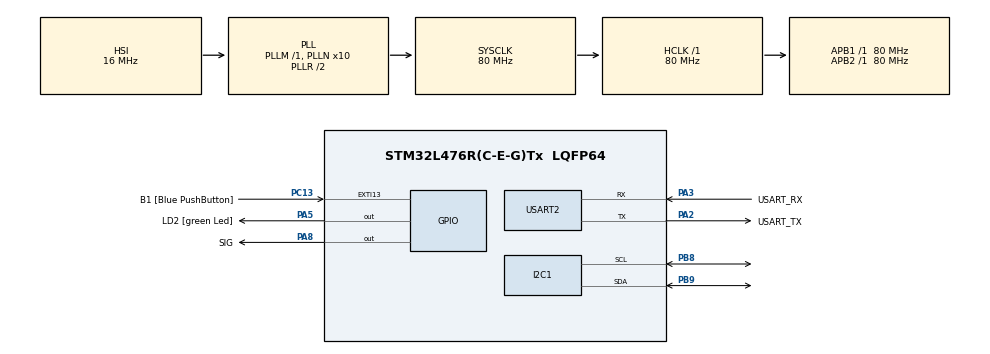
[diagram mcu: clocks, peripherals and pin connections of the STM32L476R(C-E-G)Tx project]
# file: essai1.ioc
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I2C1.Timing=0x10909CEC
Mcu.Family=STM32L4
Mcu.Name=STM32L476R(C-E-G)Tx
Mcu.Package=LQFP64
NVIC.PriorityGroup=NVIC_PRIORITYGROUP_4
PA13\ (JTMS-SWDIO).GPIO_Label=TMS
PA13\ (JTMS-SWDIO).Mode=Serial_Wire
PA13\ (JTMS-SWDIO).Signal=SYS_JTMS-SWDIO
PA14\ (JTCK-SWCLK).GPIO_Label=TCK
PA14\ (JTCK-SWCLK).Mode=Serial_Wire
PA14\ (JTCK-SWCLK).Signal=SYS_JTCK-SWCLK
PA2.GPIO_Label=USART_TX
PA2.GPIO_Mode=GPIO_MODE_AF_PP
PA2.GPIO_PuPd=GPIO_NOPULL
PA2.GPIO_Speed=GPIO_SPEED_FREQ_VERY_HIGH
PA2.Mode=Asynchronous
PA2.Signal=USART2_TX
PA3.GPIO_Label=USART_RX
PA3.GPIO_Mode=GPIO_MODE_AF_PP
PA3.GPIO_PuPd=GPIO_NOPULL
PA3.GPIO_Speed=GPIO_SPEED_FREQ_VERY_HIGH
PA3.Mode=Asynchronous
PA3.Signal=USART2_RX
PA5.GPIO_Label=LD2 [green Led]
PA5.GPIO_ModeDefaultOutputPP=GPIO_MODE_OUTPUT_PP
PA5.GPIO_PuPd=GPIO_NOPULL
PA5.GPIO_Speed=GPIO_SPEED_FREQ_LOW
PA5.Signal=GPIO_Output
PA8.GPIO_Label=SIG
PA8.Signal=GPIO_Output
PB3\ (JTDO-TRACESWO).GPIO_Label=SWO
PB3\ (JTDO-TRACESWO).Signal=SYS_JTDO-SWO
PB8.GPIO_Pu=GPIO_PULLUP
PB8.Mode=I2C
PB8.Signal=I2C1_SCL
PB9.GPIO_Pu=GPIO_PULLUP
PB9.Mode=I2C
PB9.Signal=I2C1_SDA
PC13.GPIO_Label=B1 [Blue PushButton]
PC13.GPIO_ModeDefaultEXTI=GPIO_MODE_IT_FALLING
PC13.GPIO_PuPd=GPIO_NOPULL
PC13.Signal=GPXTI13
PC14-OSC32_IN\ (PC14).Mode=LSE-External-Oscillator
PC14-OSC32_IN\ (PC14).Signal=RCC_OSC32_IN
PC15-OSC32_OUT\ (PC15).Mode=LSE-External-Oscillator
PC15-OSC32_OUT\ (PC15).Signal=RCC_OSC32_OUT
PH0-OSC_IN\ (PH0).Signal=RCC_OSC_IN
PH1-OSC_OUT\ (PH1).Signal=RCC_OSC_OUT
ProjectManager.HeapSize=0x200
ProjectManager.StackSize=0x400
ProjectManager.TargetToolchain=STM32CubeIDE
RCC.ADCFreq_Value=64000000
RCC.AHBFreq_Value=80000000
RCC.APB1Freq_Value=80000000
RCC.APB1TimFreq_Value=80000000
RCC.APB2Freq_Value=80000000
RCC.APB2TimFreq_Value=80000000
RCC.CortexFreq_Value=80000000
RCC.HCLKFreq_Value=80000000
RCC.HSE_VALUE=8000000
RCC.HSI_VALUE=16000000
RCC.MSI_VALUE=4000000
RCC.PLLN=10
RCC.PLLSourceVirtual=RCC_PLLSOURCE_HSI
RCC.PREFETCH_ENABLE=1
RCC.SYSCLKFreq_VALUE=80000000
RCC.SYSCLKSource=RCC_SYSCLKSOURCE_PLLCLK
RCC.USBFreq_Value=64000000
RCC.VCOOutputFreq_Value=160000000
TIM2.Prescaler=80-1
USART2.VirtualMode-Asynchronous=VM_ASYNC
VP_TIM2_VS_ClockSourceINT.Mode=Internal
board=NUCLEO-L476RG

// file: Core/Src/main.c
/* USER CODE BEGIN Header */
/**
  ******************************************************************************
  * @file           : main.c
  * @brief          : Main program body
  ******************************************************************************
  * @attention
  *
  * Copyright (c) 2022 STMicroelectronics.
  * All rights reserved.
  *
  * This software is licensed under terms that can be found in the LICENSE file
  * in the root directory of this software component.
  * If no LICENSE file comes with this software, it is provided AS-IS.
  *
  ******************************************************************************
  */
/* USER CODE END Header */
#include "main.h"
#include "i2c.h"
#include "tim.h"
#include "usart.h"
#include "gpio.h"

/* USER CODE BEGIN Includes */

#include "lib_lcd.h"
#include <stdio.h> //bibliothèque pour faire marcher sprintf
#include <string.h> //bibliothèque pour faire marcher memset
 GPIO_InitTypeDef GPIO_InitStruct = {0};

/* USER CODE END Includes */

/* USER CODE BEGIN PV */
 static rgb_lcd lcdData;

 void delay_us(uint16_t us){ // Fonction permettant d'avoir un timer qui compte en microseconde

 	__HAL_TIM_SET_COUNTER(&htim2, 0);
 	while (__HAL_TIM_GET_COUNTER(&htim2) < us);
 }

/* USER CODE END PV */

void SystemClock_Config(void);

/* USER CODE BEGIN 0 */
//void delay_us(uint32_t delay_us);
float mesure_distance(GPIO_TypeDef *GPIOx, uint16_t GPIO_Pin);
void MX_GPIO_input(void);
void MX_GPIO_output(void);

unsigned long tick=0;
float distance;
/* USER CODE END 0 */

int main(void)
{
  /* USER CODE BEGIN 1 */
  uint8_t temp[16] = "";  // initialiser un tableau temp de 16 en uint8

  /* USER CODE END 1 */

  /* MCU Configuration--------------------------------------------------------*/

  /* Reset of all peripherals, Initializes the Flash interface and the Systick. */
  HAL_Init();

  /* Configure the system clock */
  SystemClock_Config();

  /* Initialize all configured peripherals */
  MX_GPIO_Init();
  MX_USART2_UART_Init();
  MX_I2C1_Init();
  MX_TIM2_Init();
  /* USER CODE BEGIN 2 */
  HAL_TIM_Base_Start(&htim2);

  lcd_init(&hi2c1, &lcdData);

  clearlcd();
  lcd_print(&hi2c1,"Hello world");
  /* USER CODE END 2 */

  /* Infinite loop */
  /* USER CODE BEGIN WHILE */
  while (1)
  {
	  MX_GPIO_output();														//Pin on output
	 	  HAL_GPIO_WritePin(SIG_GPIO_Port, SIG_Pin, GPIO_PIN_SET);		    //mettre le pin en état haut
	 	  delay_us (20);													//attendre 20microsecondes pour avoir déclencher une mesure
	 	  HAL_GPIO_WritePin(SIG_GPIO_Port, SIG_Pin, GPIO_PIN_RESET);		//remettre la pin à l'état bas
	 	  MX_GPIO_input();												    //pin on input
	 	  distance = mesure_distance(SIG_GPIO_Port, SIG_Pin);				// entrer dans la fonction mesure

	 	  clearlcd();			//clear lcd
		  lcd_position(&hi2c1,0,0); //positionner le cursor
	 	  lcd_print(&hi2c1,"The distance is:");   //afficher ce message

	 	  lcd_position(&hi2c1, 0, 1);			//répositionner le capteur
	 	  memset(temp,0,sizeof(temp));			//initialiser le tab à 0
	 	  sprintf((char*)temp,"%2.f cm",distance);	// convertir le float en char pour afficher la valeur sur lcd
	 	  lcd_print(&hi2c1,(char*)temp);			//on print le tableau : distance

	 	  HAL_Delay(1000);							// on mesure chaque 1 seconde
    /* USER CODE END WHILE */

  }
}

void SystemClock_Config(void)
{
  RCC_OscInitTypeDef RCC_OscInitStruct = {0};
  RCC_ClkInitTypeDef RCC_ClkInitStruct = {0};

  /** Configure the main internal regulator output voltage
  */
  if (HAL_PWREx_ControlVoltageScaling(PWR_REGULATOR_VOLTAGE_SCALE1) != HAL_OK)
  {
    Error_Handler();
  }
  /** Initializes the RCC Oscillators according to the specified parameters
  * in the RCC_OscInitTypeDef structure.
  */
  RCC_OscInitStruct.OscillatorType = RCC_OSCILLATORTYPE_HSI;
  RCC_OscInitStruct.HSIState = RCC_HSI_ON;
  RCC_OscInitStruct.HSICalibrationValue = RCC_HSICALIBRATION_DEFAULT;
  RCC_OscInitStruct.PLL.PLLState = RCC_PLL_ON;
  RCC_OscInitStruct.PLL.PLLSource = RCC_PLLSOURCE_HSI;
  RCC_OscInitStruct.PLL.PLLM = 1;
  RCC_OscInitStruct.PLL.PLLN = 10;
  RCC_OscInitStruct.PLL.PLLP = RCC_PLLP_DIV7;
  RCC_OscInitStruct.PLL.PLLQ = RCC_PLLQ_DIV2;
  RCC_OscInitStruct.PLL.PLLR = RCC_PLLR_DIV2;
  if (HAL_RCC_OscConfig(&RCC_OscInitStruct) != HAL_OK)
  {
    Error_Handler();
  }
  /** Initializes the CPU, AHB and APB buses clocks
  */
  RCC_ClkInitStruct.ClockType = RCC_CLOCKTYPE_HCLK|RCC_CLOCKTYPE_SYSCLK
                              |RCC_CLOCKTYPE_PCLK1|RCC_CLOCKTYPE_PCLK2;
  RCC_ClkInitStruct.SYSCLKSource = RCC_SYSCLKSOURCE_PLLCLK;
  RCC_ClkInitStruct.AHBCLKDivider = RCC_SYSCLK_DIV1;
  RCC_ClkInitStruct.APB1CLKDivider = RCC_HCLK_DIV1;
  RCC_ClkInitStruct.APB2CLKDivider = RCC_HCLK_DIV1;

  if (HAL_RCC_ClockConfig(&RCC_ClkInitStruct, FLASH_LATENCY_4) != HAL_OK)
  {
    Error_Handler();
  }
}

/* USER CODE BEGIN 4 */
void MX_GPIO_output(void)				//fonction mettre la pin SIG on output
{
	  GPIO_InitStruct.Pin = SIG_Pin;
	  GPIO_InitStruct.Mode = GPIO_MODE_OUTPUT_PP;
	  GPIO_InitStruct.Pull = GPIO_NOPULL;
	  GPIO_InitStruct.Speed = GPIO_SPEED_FREQ_VERY_HIGH;
	  HAL_GPIO_Init(SIG_GPIO_Port, &GPIO_InitStruct);
}

void MX_GPIO_input(void)//fonction mettre la pin SIG on input
{

	GPIO_InitStruct.Pin = SIG_Pin;
	GPIO_InitStruct.Mode = GPIO_MODE_INPUT;
	GPIO_InitStruct.Pull = GPIO_NOPULL;
	HAL_GPIO_Init(SIG_GPIO_Port, &GPIO_InitStruct);
}

float mesure_distance(GPIO_TypeDef *GPIOx, uint16_t GPIO_Pin) // mesurer la distance
{
	  unsigned long tick=0; 	//variable des impulsions
	  while (!HAL_GPIO_ReadPin(GPIOx, GPIO_Pin)){} //tant qu'on est à l'état bas on fait rien

	  while (HAL_GPIO_ReadPin(GPIOx, GPIO_Pin))		//une fois à l'état haut on excute ce while
	  {
		delay_us (10);											// l'état haut ça dure 10microsecondes
		tick++;													// incrémenter les impulses pour le comptage
	  }

	  return (tick * 170)/1000;  //100000 pour resultat en m, 1000 pour cm
}
/* USER CODE END 4 */

void Error_Handler(void)
{
  __disable_irq();
  while (1)
  {
  }
}
